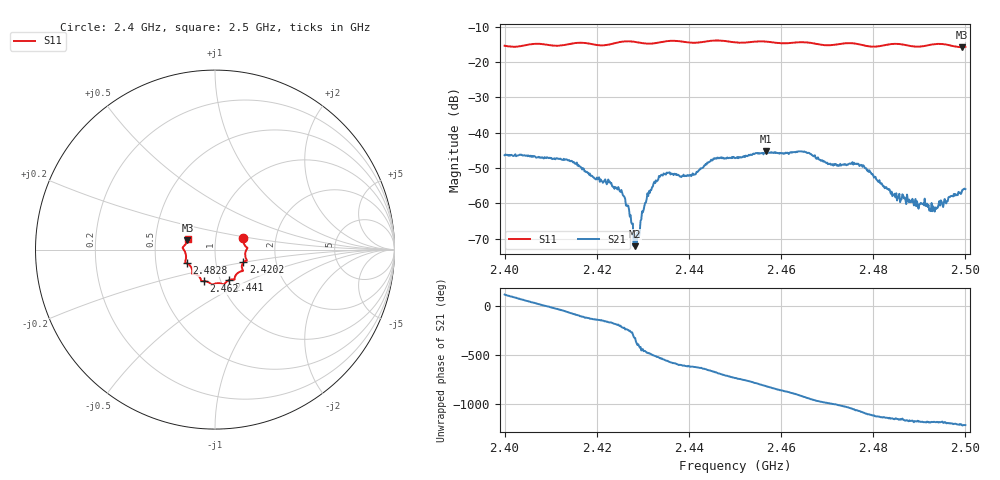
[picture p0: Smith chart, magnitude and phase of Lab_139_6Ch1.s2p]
# Hz S RI R 50
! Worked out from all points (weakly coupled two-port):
!   601 points, 2.4 GHz to 2.5 GHz, reference 50 ohm
!   highest |S21| = -45.24 dB at 2.4567 GHz (marker M1); lowest = -72.1 dB at 2.4283 GHz (marker M2)
!   lowest |S11| = -15.8 dB at 2.4993 GHz (marker M3), VSWR 1.39, Z = 36.5 + j3.85 ohm
!   |S11| at or under -10 dB: start of sweep to end of sweep
!   S12 and S22 are empty: the file has one direction only
!   S11 on the Smith chart (normalised r, x): 2.4 GHz: 1.36, +0.17; 2.4202 GHz: 1.36, -0.20; 2.441 GHz: 1.10, -0.39; 2.462 GHz: 0.83, -0.30; 2.4828 GHz: 0.72, -0.11; 2.5 GHz: 0.73, +0.09
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2.4e9  0.1582 0.0623  -0.00193 0.0044  0 0  0 0
2.413333e9  0.1703 -0.0436  0.00211 -0.00361  0 0  0 0
2.416667e9  0.1773 -0.0606  -0.000974 -0.00304  0 0  0 0
2.420167e9  0.1583 -0.0712  -0.00176 -0.0013  0 0  0 0
2.425667e9  0.1557 -0.1167  -0.00096 0.000888  0 0  0 0
2.428333e9  0.1506 -0.1201  0.000212 0.000128  0 0  0 0
2.428833e9  0.1469 -0.1208  0.000297 -0.000255  0 0  0 0
2.430833e9  0.1283 -0.1295  -0.000532 -0.00102  0 0  0 0
2.433333e9  0.1115 -0.1509  -0.00207 -0.000651  0 0  0 0
2.441e9  0.0784 -0.1698  -0.00033 0.0025  0 0  0 0
2.445333e9  0.0513 -0.1941  0.00286 0.00323  0 0  0 0
2.45e9  0.0282 -0.1875  0.00416 -0.0013  0 0  0 0
2.456667e9  -0.0187 -0.1937  -0.000692 -0.00543  0 0  0 0
2.462e9  -0.0609 -0.1756  -0.00511 -0.00133  0 0  0 0
2.466667e9  -0.0788 -0.1681  -0.00291 0.00384  0 0  0 0
2.470833e9  -0.103 -0.1392  0.000418 0.00348  0 0  0 0
2.477667e9  -0.127 -0.1186  0.00328 -0.000274  0 0  0 0
2.482833e9  -0.1574 -0.0765  0.000862 -0.00146  0 0  0 0
2.483333e9  -0.1607 -0.0753  0.000618 -0.00143  0 0  0 0
2.493333e9  -0.1791 0.00645  -0.000185 -0.000741  0 0  0 0
2.499333e9  -0.1539 0.0513  -0.00117 -0.00102  0 0  0 0
2.5e9  -0.1521 0.0609  -0.00114 -0.00111  0 0  0 0
